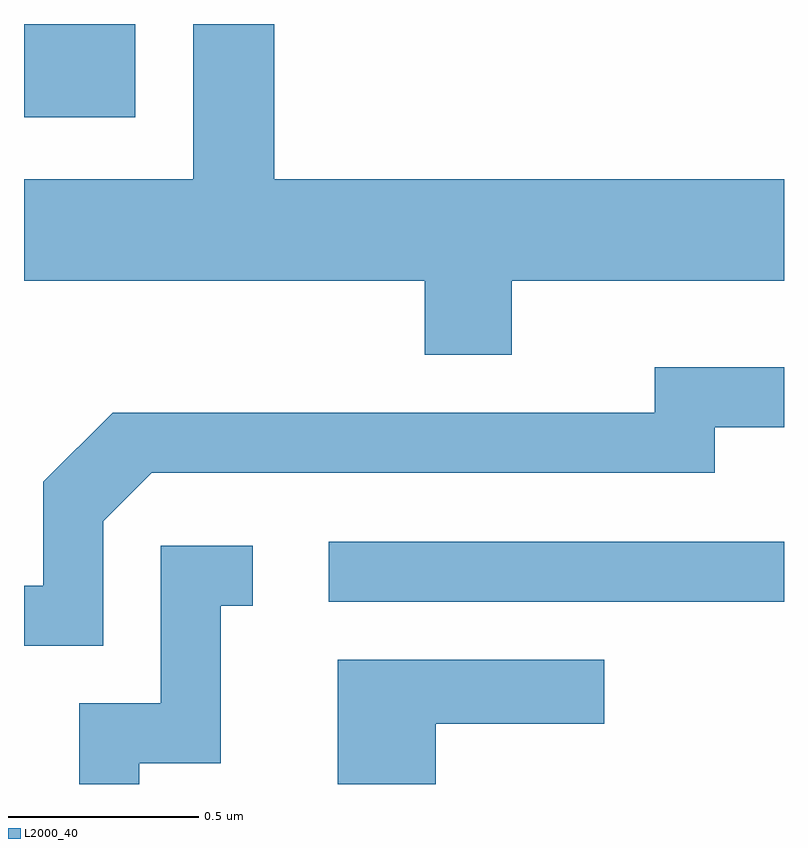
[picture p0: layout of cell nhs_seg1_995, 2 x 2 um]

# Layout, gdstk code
import gdstk
lib = gdstk.Library(unit=1e-6, precision=1e-09)
def R(c, l, rs):  # rectangles x0, y0, x1, y1
    for r in rs: c.add(gdstk.rectangle(r[:2], r[2:], *l))
def P(c, l, *ps):  # polygons
    for p in ps: c.add(gdstk.Polygon(p, *l))
L2000_40 = (2000, 40)

nhs_seg1_995 = lib.new_cell('nhs_seg1_995')
R(nhs_seg1_995, L2000_40, [(193.413,883.191,194.611,883.349), (192.611,884.466,192.904,884.712)])
P(nhs_seg1_995, L2000_40, [(193.894,884.036),(194.611,884.036),(194.611,884.304),(193.269,884.304),(193.269,884.712),(193.056,884.712),(193.056,884.304),(192.611,884.304),(192.611,884.036),(193.666,884.036),(193.666,883.841),(193.894,883.841)],
  [(192.819,883.404),(192.947,883.531),(194.429,883.531),(194.429,883.651),(194.611,883.651),(194.611,883.809),(194.271,883.809),(194.271,883.689),(192.844,883.689),(192.661,883.507),(192.661,883.234),(192.611,883.234),(192.611,883.076),(192.819,883.076)],
  [(192.914,882.766),(193.129,882.766),(193.129,883.181),(193.213,883.181),(193.213,883.339),(192.971,883.339),(192.971,882.924),(192.756,882.924),(192.756,882.712),(192.914,882.712)],
  [(193.694,882.871),(194.138,882.871),(194.138,883.039),(193.436,883.039),(193.436,882.712),(193.694,882.712)])

lib.write_gds('nhs_seg1_995.gds')
